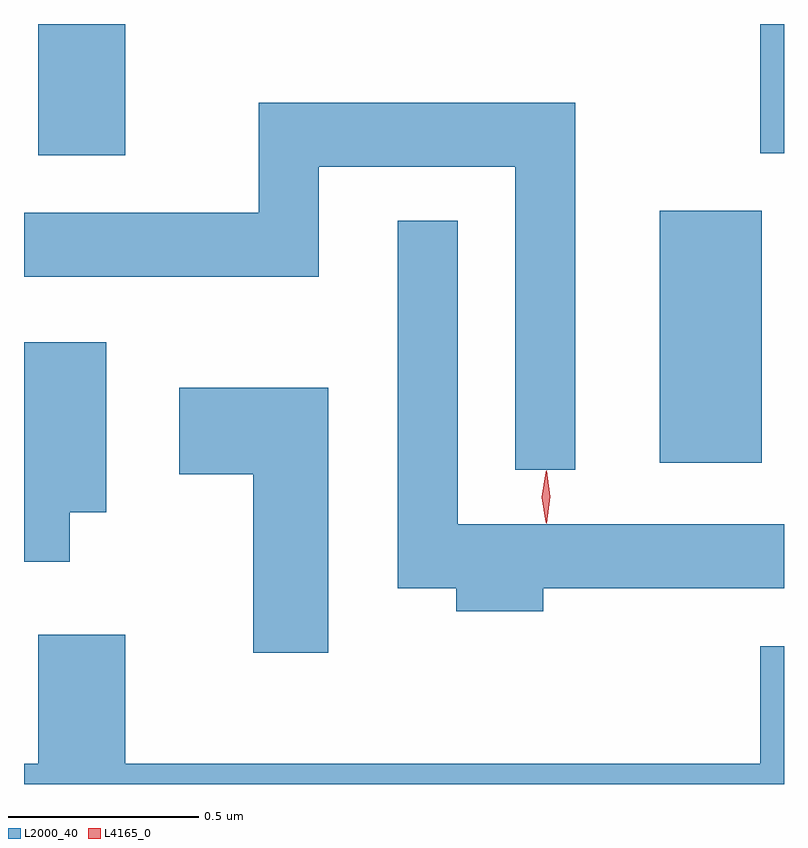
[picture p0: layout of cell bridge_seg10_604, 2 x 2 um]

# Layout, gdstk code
import gdstk
lib = gdstk.Library(unit=1e-6, precision=1e-09)
def R(c, l, rs):  # rectangles x0, y0, x1, y1
    for r in rs: c.add(gdstk.rectangle(r[:2], r[2:], *l))
def P(c, l, *ps):  # polygons
    for p in ps: c.add(gdstk.Polygon(p, *l))
L2000_40 = (2000, 40)
L4165_0 = (4165, 0)

bridge_seg10_604 = lib.new_cell('bridge_seg10_604')
R(bridge_seg10_604, L2000_40, [(779.506,2183.796,779.774,2184.459), (777.871,2184.606,778.099,2184.951), (779.771,2184.611,779.833,2184.951)])
P(bridge_seg10_604, L2000_40, [(779.284,2184.744),(778.451,2184.744),(778.451,2184.454),(777.833,2184.454),(777.833,2184.286),(778.609,2184.286),(778.609,2184.576),(779.126,2184.576),(779.126,2183.778),(779.284,2183.778)],
  [(779.199,2183.466),(779.833,2183.466),(779.833,2183.634),(778.974,2183.634),(778.974,2184.433),(778.816,2184.433),(778.816,2183.466),(778.971,2183.466),(778.971,2183.406),(779.199,2183.406)],
  [(777.954,2183.666),(778.049,2183.666),(778.049,2184.114),(777.833,2184.114),(777.833,2183.536),(777.954,2183.536)],
  [(778.634,2183.994),(778.241,2183.994),(778.241,2183.766),(778.436,2183.766),(778.436,2183.296),(778.634,2183.296)],
  [(779.833,2183.314),(779.771,2183.314),(779.771,2183.004),(778.099,2183.004),(778.099,2183.344),(777.871,2183.344),(777.871,2183.004),(777.833,2183.004),(777.833,2182.951),(779.833,2182.951)])
P(bridge_seg10_604, L4165_0, [(779.207,2183.637),(779.198,2183.707),(779.207,2183.776),(779.208,2183.776),(779.208,2183.776),(779.218,2183.707),(779.208,2183.637),(779.208,2183.637)],
  [(779.206,2183.64),(779.206,2183.64),(779.196,2183.706),(779.206,2183.772),(779.206,2183.773),(779.207,2183.772),(779.216,2183.706),(779.207,2183.64)])

lib.write_gds('bridge_seg10_604.gds')
